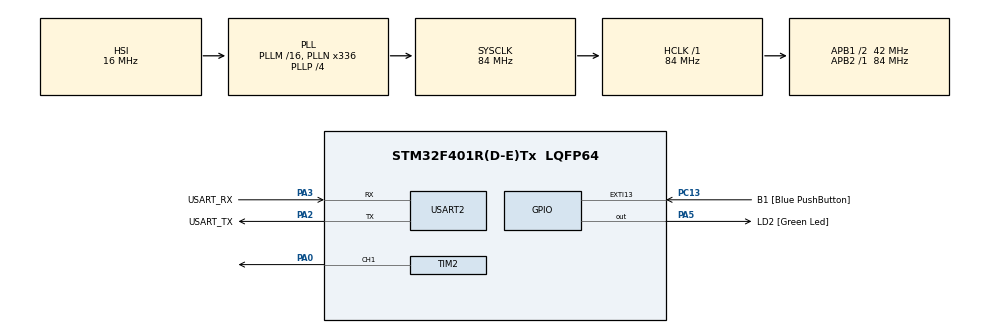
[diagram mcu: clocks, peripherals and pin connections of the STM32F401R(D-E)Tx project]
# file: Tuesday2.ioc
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Mcu.Family=STM32F4
Mcu.Name=STM32F401R(D-E)Tx
Mcu.Package=LQFP64
NVIC.EXTI15_10_IRQn=true\:2\:0\:true\:false\:true\:true\:true\:true
NVIC.PriorityGroup=NVIC_PRIORITYGROUP_2
NVIC.TIM2_IRQn=true\:0\:0\:true\:false\:true\:true\:true\:true
NVIC.USART2_IRQn=true\:0\:0\:false\:false\:true\:true\:true\:true
PA0-WKUP.Signal=S_TIM2_CH1_ETR
PA13.GPIO_Label=TMS
PA13.Mode=Serial_Wire
PA13.Signal=SYS_JTMS-SWDIO
PA14.GPIO_Label=TCK
PA14.Mode=Serial_Wire
PA14.Signal=SYS_JTCK-SWCLK
PA2.GPIO_Label=USART_TX
PA2.GPIO_Mode=GPIO_MODE_AF_PP
PA2.GPIO_PuPd=GPIO_NOPULL
PA2.GPIO_Speed=GPIO_SPEED_FREQ_LOW
PA2.Mode=Asynchronous
PA2.Signal=USART2_TX
PA3.GPIO_Label=USART_RX
PA3.GPIO_Mode=GPIO_MODE_AF_PP
PA3.GPIO_PuPd=GPIO_NOPULL
PA3.GPIO_Speed=GPIO_SPEED_FREQ_LOW
PA3.Mode=Asynchronous
PA3.Signal=USART2_RX
PA5.GPIO_Label=LD2 [Green Led]
PA5.GPIO_Mode=GPIO_MODE_OUTPUT_PP
PA5.GPIO_PuPd=GPIO_NOPULL
PA5.GPIO_Speed=GPIO_SPEED_FREQ_LOW
PA5.Signal=GPIO_Output
PB3.GPIO_Label=SWO
PB3.Signal=SYS_JTDO-SWO
PC13-ANTI_TAMP.GPIO_Label=B1 [Blue PushButton]
PC13-ANTI_TAMP.GPIO_ModeDefaultEXTI=GPIO_MODE_IT_RISING
PC13-ANTI_TAMP.GPIO_PuPd=GPIO_NOPULL
PC13-ANTI_TAMP.Signal=GPXTI13
PC14-OSC32_IN.Mode=LSE-External-Oscillator
PC14-OSC32_IN.Signal=RCC_OSC32_IN
PC15-OSC32_OUT.Mode=LSE-External-Oscillator
PC15-OSC32_OUT.Signal=RCC_OSC32_OUT
PH0\ -\ OSC_IN.Mode=HSE-External-Clock-Source
PH0\ -\ OSC_IN.Signal=RCC_OSC_IN
PH1\ -\ OSC_OUT.Mode=HSE-External-Clock-Source
PH1\ -\ OSC_OUT.Signal=RCC_OSC_OUT
ProjectManager.HeapSize=0x200
ProjectManager.StackSize=0x400
ProjectManager.TargetToolchain=STM32CubeIDE
RCC.48MHZClocksFreq_Value=48000000
RCC.AHBFreq_Value=84000000
RCC.APB1CLKDivider=RCC_HCLK_DIV2
RCC.APB1Freq_Value=42000000
RCC.APB1TimFreq_Value=84000000
RCC.APB2Freq_Value=84000000
RCC.APB2TimFreq_Value=84000000
RCC.CortexFreq_Value=84000000
RCC.HCLKFreq_Value=84000000
RCC.HSE_VALUE=8000000
RCC.HSI_VALUE=16000000
RCC.PLLN=336
RCC.PLLP=RCC_PLLP_DIV4
RCC.PLLQ=7
RCC.SYSCLKFreq_VALUE=84000000
RCC.SYSCLKSource=RCC_SYSCLKSOURCE_PLLCLK
RCC.VCOOutputFreq_Value=336000000
SH.S_TIM2_CH1_ETR.0=TIM2_CH1,PWM Generation1 CH1
TIM2.AutoReloadPreload=TIM_AUTORELOAD_PRELOAD_DISABLE
TIM2.Channel-PWM\ Generation1\ CH1=TIM_CHANNEL_1
TIM2.Period=99
TIM2.Prescaler=9
USART2.VirtualMode=VM_ASYNC
board=NUCLEO-F401RE

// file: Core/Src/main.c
/* USER CODE BEGIN Header */
/**
  ******************************************************************************
  * @file           : main.c
  * @brief          : Main program body
  ******************************************************************************
  * @attention
  *
  * Copyright (c) 2024 STMicroelectronics.
  * All rights reserved.
  *
  * This software is licensed under terms that can be found in the LICENSE file
  * in the root directory of this software component.
  * If no LICENSE file comes with this software, it is provided AS-IS.
  *
  ******************************************************************************
  */
/* USER CODE END Header */
#include "main.h"

TIM_HandleTypeDef htim2;

UART_HandleTypeDef huart2;

void SystemClock_Config(void);
static void MX_GPIO_Init(void);
static void MX_USART2_UART_Init(void);
static void MX_TIM2_Init(void);

/* USER CODE BEGIN 0 */

char get_char[1];
int light = 0;
int interact = 0;
void HAL_UART_RxCpltCallback(UART_HandleTypeDef* huart) {
	if(huart==&huart2) {
		HAL_UART_Transmit(&huart2,get_char,1,100);
		HAL_UART_Receive_IT(&huart2,get_char,1);
	}
}

void HAL_GPIO_EXTI_Callback(uint16_t GPIO_Pin) {
	if(interact == 0) {
		if(light == 0) light = 9;
		else if(light == 9) light = 19;
		else if(light == 19) light = 29;
		else if(light == 29) light = 39;
		else if(light == 39) light = 49;
		else if(light == 49) light = 59;
		else if(light == 59) light = 69;
		else if(light == 69) light = 79;
		else if(light == 79) light = 89;
		else if(light == 89) light = 99;
		else if(light == 99) light = 0;
	}
	char buffer[100];
	int number = 0;
	if(light == 0) number = 0;
	else if(light == 9) number = 1;
	else if(light == 19) number = 2;
	else if(light == 29) number = 3;
	else if(light == 39) number = 4;
	else if(light == 49) number = 5;
	else if(light == 59) number = 6;
	else if(light == 69) number = 7;
	else if(light == 79) number = 8;
	else if(light == 89) number = 9;
	else if(light == 99) number = 10;
	sprintf(buffer,"%d",number);
	if(interact == 0) {
		HAL_UART_Transmit(&huart2,buffer,strlen(buffer),100);
	}
	TIM2->CCR1 = light;
	HAL_Delay(100);
	__HAL_GPIO_EXTI_CLEAR_IT(GPIO_Pin);
	int yes = 1;
	for(int q = 0;q < 190;q++){
		GPIO_PinState button_state = HAL_GPIO_ReadPin(GPIOC,GPIO_PIN_13);
		if(button_state == GPIO_PIN_SET) {
			yes = 0;
			break;
		}
		HAL_Delay(10);
	}
	if(yes == 1) {
		interact = 1;
	}
}
/* USER CODE END 0 */

int main(void)
{

  /* MCU Configuration--------------------------------------------------------*/

  /* Reset of all peripherals, Initializes the Flash interface and the Systick. */
  HAL_Init();

  /* Configure the system clock */
  SystemClock_Config();

  /* Initialize all configured peripherals */
  MX_GPIO_Init();
  MX_USART2_UART_Init();
  MX_TIM2_Init();
  /* USER CODE BEGIN 2 */

  HAL_TIM_PWM_Start(&htim2,TIM_CHANNEL_1);

  HAL_UART_Receive_IT(&huart2,get_char,1);
  TIM2->CCR1 = 100;
  /* USER CODE END 2 */

  /* Infinite loop */
  while (1)
  {

  }
}

void SystemClock_Config(void)
{
  RCC_OscInitTypeDef RCC_OscInitStruct = {0};
  RCC_ClkInitTypeDef RCC_ClkInitStruct = {0};

  /** Configure the main internal regulator output voltage
  */
  __HAL_RCC_PWR_CLK_ENABLE();
  __HAL_PWR_VOLTAGESCALING_CONFIG(PWR_REGULATOR_VOLTAGE_SCALE2);

  /** Initializes the RCC Oscillators according to the specified parameters
  * in the RCC_OscInitTypeDef structure.
  */
  RCC_OscInitStruct.OscillatorType = RCC_OSCILLATORTYPE_HSI;
  RCC_OscInitStruct.HSIState = RCC_HSI_ON;
  RCC_OscInitStruct.HSICalibrationValue = RCC_HSICALIBRATION_DEFAULT;
  RCC_OscInitStruct.PLL.PLLState = RCC_PLL_ON;
  RCC_OscInitStruct.PLL.PLLSource = RCC_PLLSOURCE_HSI;
  RCC_OscInitStruct.PLL.PLLM = 16;
  RCC_OscInitStruct.PLL.PLLN = 336;
  RCC_OscInitStruct.PLL.PLLP = RCC_PLLP_DIV4;
  RCC_OscInitStruct.PLL.PLLQ = 7;
  if (HAL_RCC_OscConfig(&RCC_OscInitStruct) != HAL_OK)
  {
    Error_Handler();
  }

  /** Initializes the CPU, AHB and APB buses clocks
  */
  RCC_ClkInitStruct.ClockType = RCC_CLOCKTYPE_HCLK|RCC_CLOCKTYPE_SYSCLK
                              |RCC_CLOCKTYPE_PCLK1|RCC_CLOCKTYPE_PCLK2;
  RCC_ClkInitStruct.SYSCLKSource = RCC_SYSCLKSOURCE_PLLCLK;
  RCC_ClkInitStruct.AHBCLKDivider = RCC_SYSCLK_DIV1;
  RCC_ClkInitStruct.APB1CLKDivider = RCC_HCLK_DIV2;
  RCC_ClkInitStruct.APB2CLKDivider = RCC_HCLK_DIV1;

  if (HAL_RCC_ClockConfig(&RCC_ClkInitStruct, FLASH_LATENCY_2) != HAL_OK)
  {
    Error_Handler();
  }
}

static void MX_TIM2_Init(void)
{

  TIM_MasterConfigTypeDef sMasterConfig = {0};
  TIM_OC_InitTypeDef sConfigOC = {0};

  htim2.Instance = TIM2;
  htim2.Init.Prescaler = 9;
  htim2.Init.CounterMode = TIM_COUNTERMODE_UP;
  htim2.Init.Period = 99;
  htim2.Init.ClockDivision = TIM_CLOCKDIVISION_DIV1;
  htim2.Init.AutoReloadPreload = TIM_AUTORELOAD_PRELOAD_DISABLE;
  if (HAL_TIM_PWM_Init(&htim2) != HAL_OK)
  {
    Error_Handler();
  }
  sMasterConfig.MasterOutputTrigger = TIM_TRGO_RESET;
  sMasterConfig.MasterSlaveMode = TIM_MASTERSLAVEMODE_DISABLE;
  if (HAL_TIMEx_MasterConfigSynchronization(&htim2, &sMasterConfig) != HAL_OK)
  {
    Error_Handler();
  }
  sConfigOC.OCMode = TIM_OCMODE_PWM1;
  sConfigOC.Pulse = 0;
  sConfigOC.OCPolarity = TIM_OCPOLARITY_HIGH;
  sConfigOC.OCFastMode = TIM_OCFAST_DISABLE;
  if (HAL_TIM_PWM_ConfigChannel(&htim2, &sConfigOC, TIM_CHANNEL_1) != HAL_OK)
  {
    Error_Handler();
  }
  HAL_TIM_MspPostInit(&htim2);

}

static void MX_USART2_UART_Init(void)
{

  huart2.Instance = USART2;
  huart2.Init.BaudRate = 115200;
  huart2.Init.WordLength = UART_WORDLENGTH_8B;
  huart2.Init.StopBits = UART_STOPBITS_1;
  huart2.Init.Parity = UART_PARITY_NONE;
  huart2.Init.Mode = UART_MODE_TX_RX;
  huart2.Init.HwFlowCtl = UART_HWCONTROL_NONE;
  huart2.Init.OverSampling = UART_OVERSAMPLING_16;
  if (HAL_UART_Init(&huart2) != HAL_OK)
  {
    Error_Handler();
  }

}

static void MX_GPIO_Init(void)
{
  GPIO_InitTypeDef GPIO_InitStruct = {0};

  /* GPIO Ports Clock Enable */
  __HAL_RCC_GPIOC_CLK_ENABLE();
  __HAL_RCC_GPIOH_CLK_ENABLE();
  __HAL_RCC_GPIOA_CLK_ENABLE();
  __HAL_RCC_GPIOB_CLK_ENABLE();

  /*Configure GPIO pin Output Level */
  HAL_GPIO_WritePin(LD2_GPIO_Port, LD2_Pin, GPIO_PIN_RESET);

  /*Configure GPIO pin : B1_Pin */
  GPIO_InitStruct.Pin = B1_Pin;
  GPIO_InitStruct.Mode = GPIO_MODE_IT_RISING;
  GPIO_InitStruct.Pull = GPIO_NOPULL;
  HAL_GPIO_Init(B1_GPIO_Port, &GPIO_InitStruct);

  /*Configure GPIO pin : LD2_Pin */
  GPIO_InitStruct.Pin = LD2_Pin;
  GPIO_InitStruct.Mode = GPIO_MODE_OUTPUT_PP;
  GPIO_InitStruct.Pull = GPIO_NOPULL;
  GPIO_InitStruct.Speed = GPIO_SPEED_FREQ_LOW;
  HAL_GPIO_Init(LD2_GPIO_Port, &GPIO_InitStruct);

  /* EXTI interrupt init*/
  HAL_NVIC_SetPriority(EXTI15_10_IRQn, 2, 0);
  HAL_NVIC_EnableIRQ(EXTI15_10_IRQn);

}

void Error_Handler(void)
{
  __disable_irq();
  while (1)
  {
  }
}
